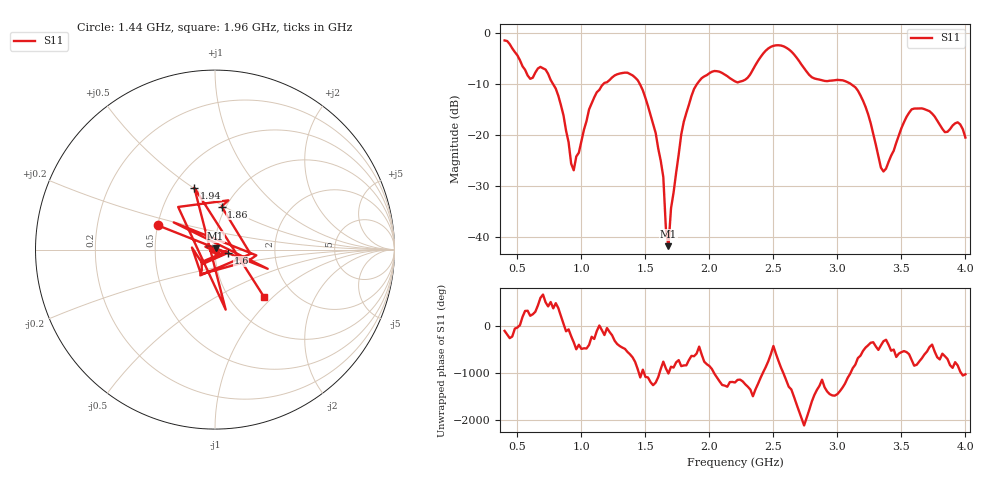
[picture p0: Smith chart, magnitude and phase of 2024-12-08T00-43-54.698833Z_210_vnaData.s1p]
!Created with skrf (http://scikit-rf.org).
# Hz S RI R 50.0
!freq ReS11 ImS11
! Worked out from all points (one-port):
!   181 points, 400 MHz to 4 GHz, reference 50 ohm
!   lowest |S11| = -41.9 dB at 1.68 GHz (marker M1), VSWR 1.02, Z = 50.3 + j0.732 ohm
!   |S11| at or under -10 dB: 779.6 MHz to 1.17 GHz (390 MHz wide, 40 % of centre); 1.458 GHz to 1.902 GHz (444 MHz wide, 26.4 % of centre); 3.108 GHz to end of sweep
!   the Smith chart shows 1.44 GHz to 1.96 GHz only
!   S11 on the Smith chart (normalised r, x): 1.44 GHz: 0.50, +0.15; 1.6 GHz: 1.15, -0.04; 1.86 GHz: 0.95, +0.49; 1.94 GHz: 0.64, +0.51; 1.96 GHz: 1.43, -0.88
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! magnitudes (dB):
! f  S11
! 400 MHz  -1.4
! 600 MHz  -8.9
! 720 MHz  -7.1
! 860 MHz  -16.1
! 940 MHz  -26.9
! 1.1 GHz  -12.6
! 1.3 GHz  -7.9
! 1.44 GHz  -9.2
! 1.6 GHz  -22.6
! 1.64 GHz  -28.3
! 1.66 GHz  -38.4
! 1.68 GHz  -41.9
! 1.7 GHz  -34.4
! 1.76 GHz  -23.8
! 1.86 GHz  -12.3
! 1.94 GHz  -8.8
! 1.96 GHz  -8.4
! 2.2 GHz  -9.4
! 2.48 GHz  -2.6
! 2.66 GHz  -4.1
! 2.8 GHz  -8.6
! 3.1 GHz  -9.8
! 3.22 GHz  -14.4
! 3.36 GHz  -27.2
! 3.56 GHz  -15.6
! 3.84 GHz  -19.4
! 3.94 GHz  -17.5
! 4 GHz  -20.5
